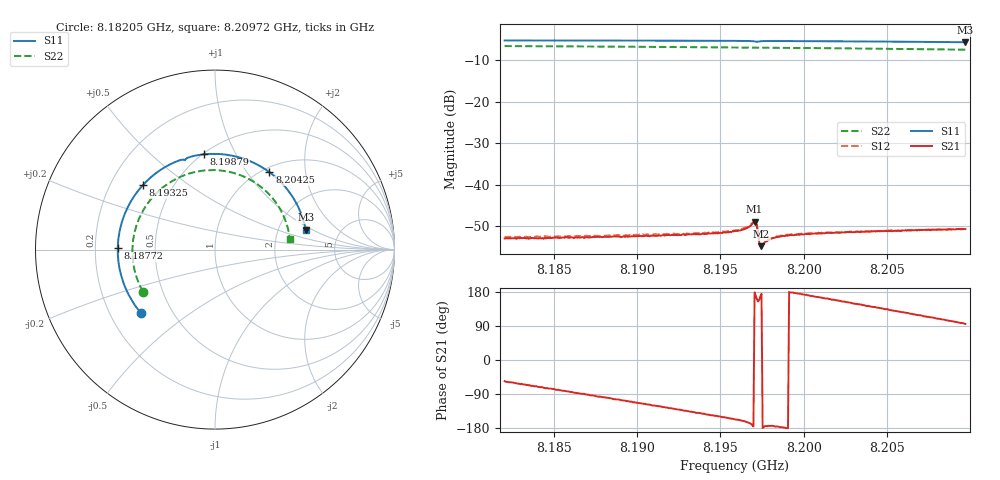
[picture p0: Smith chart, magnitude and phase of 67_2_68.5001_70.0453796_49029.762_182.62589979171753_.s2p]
#  HZ  S  RI  R  50.00
! Rohde & Schwarz Vector Network Analyzer
! Rohde-Schwarz,ZNB20-2Port,1311601062101988,3.16
! Created: UTC 3/20/2024, 5:06:44 PM
! freq[Hz]  re:S11  im:S11  re:S21  im:S21  re:S12  im:S12  re:S22  im:S22
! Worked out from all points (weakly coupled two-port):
!   401 points, 8.18205 GHz to 8.20972 GHz, reference 50 ohm
!   highest |S21| = -48.85 dB at 8.19706 GHz (marker M1); lowest = -54.8 dB at 8.19747 GHz (marker M2)
!   lowest |S11| = -5.7 dB at 8.20972 GHz (marker M3), VSWR 3.14, Z = 143 + j43 ohm
!   |S11| at or under -10 dB: nowhere
!   |S22| runs from -7.5 to -6.7 dB; largest |S21 - S12| = 0.00018
!   S11 on the Smith chart (normalised r, x): 8.18205 GHz: 0.33, -0.34; 8.18772 GHz: 0.30, +0.01; 8.19325 GHz: 0.34, +0.34; 8.19879 GHz: 0.51, +0.75; 8.20425 GHz: 1.07, +1.28; 8.20972 GHz: 2.85, +0.86
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8.182045e9  -0.4107 -0.3557  0.00127 -0.00187  0.0013 -0.00196  -0.4014 -0.2343
8.184467e9  -0.4991 -0.2134  0.00064 -0.00221  0.000656 -0.00232  -0.4494 -0.1086
8.18668e9  -0.5382 -0.0646  2.78e-05 -0.00233  -7.7e-06 -0.00243  -0.4598 0.0137
8.187718e9  -0.5417 0.00773  -0.00029 -0.00233  -0.000314 -0.00238  -0.4535 0.0711
8.189447e9  -0.526 0.1275  -0.00076 -0.00224  -0.000835 -0.00229  -0.427 0.1633
8.191315e9  -0.4792 0.2495  -0.0013 -0.00208  -0.00141 -0.0021  -0.3773 0.2543
8.193252e9  -0.4009 0.3605  -0.00183 -0.00174  -0.00195 -0.00175  -0.3049 0.3343
8.195881e9  -0.2544 0.473  -0.00256 -0.0011  -0.00261 -0.000997  -0.18 0.4108
8.196434e9  -0.2183 0.4896  -0.00277 -0.000939  -0.00289 -0.000833  -0.1507 0.4216
8.197057e9  -0.1726 0.5007  -0.00361 9.33e-05  -0.0037 0.000243  -0.1169 0.431
8.197126e9  -0.1686 0.4992  -0.00351 0.000601  -0.00359 0.000766  -0.1131 0.4317
8.197403e9  -0.1606 0.5064  -0.0018 0.000401  -0.00178 0.000478  -0.098 0.435
8.197472e9  -0.1561 0.5094  -0.00182 0.000165  -0.00183 0.000224  -0.0943 0.4359
8.197541e9  -0.1511 0.5118  -0.00187 -1.73e-05  -0.00188 6.96e-05  -0.0904 0.4366
8.198095e9  -0.1112 0.5232  -0.00224 -0.000248  -0.00228 -0.000142  -0.0594 0.4409
8.198786e9  -0.0622 0.5307  -0.00243 -7.87e-05  -0.00246 4.51e-05  -0.0201 0.4431
8.200516e9  0.0602 0.529  -0.00253 0.000497  -0.00253 0.000603  0.0777 0.4334
8.202314e9  0.183 0.4976  -0.00241 0.00116  -0.00237 0.00122  0.1749 0.4003
8.204251e9  0.3029 0.4317  -0.00212 0.0018  -0.00203 0.0019  0.2686 0.3394
8.205151e9  0.3519 0.3908  -0.00185 0.00206  -0.00182 0.00214  0.3064 0.303
8.207434e9  0.4508 0.263  -0.00115 0.00262  -0.00113 0.00263  0.3806 0.1912
8.209716e9  0.5054 0.1104  -0.000264 0.00292  -0.00024 0.00292  0.4166 0.0599
